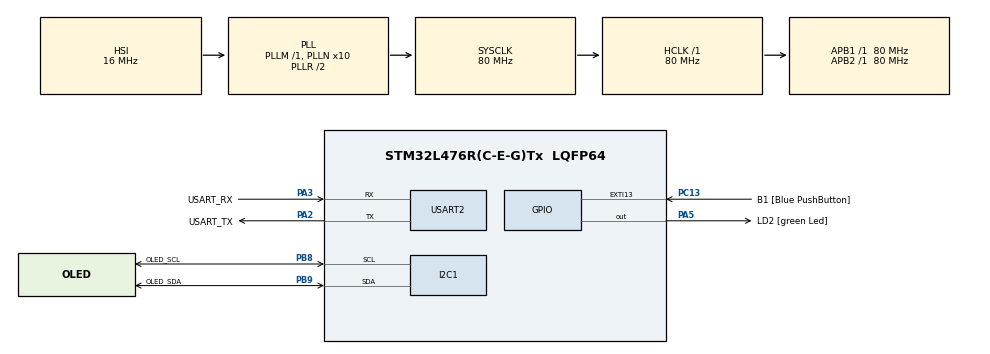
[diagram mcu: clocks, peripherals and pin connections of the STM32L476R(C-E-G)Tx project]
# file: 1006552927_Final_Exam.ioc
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I2C1.Timing=0x10909CEC
Mcu.Family=STM32L4
Mcu.Name=STM32L476R(C-E-G)Tx
Mcu.Package=LQFP64
NVIC.PriorityGroup=NVIC_PRIORITYGROUP_4
PA13\ (JTMS-SWDIO).GPIO_Label=TMS
PA13\ (JTMS-SWDIO).Mode=Serial_Wire
PA13\ (JTMS-SWDIO).Signal=SYS_JTMS-SWDIO
PA14\ (JTCK-SWCLK).GPIO_Label=TCK
PA14\ (JTCK-SWCLK).Mode=Serial_Wire
PA14\ (JTCK-SWCLK).Signal=SYS_JTCK-SWCLK
PA2.GPIO_Label=USART_TX
PA2.GPIO_Mode=GPIO_MODE_AF_PP
PA2.GPIO_PuPd=GPIO_NOPULL
PA2.GPIO_Speed=GPIO_SPEED_FREQ_VERY_HIGH
PA2.Mode=Asynchronous
PA2.Signal=USART2_TX
PA3.GPIO_Label=USART_RX
PA3.GPIO_Mode=GPIO_MODE_AF_PP
PA3.GPIO_PuPd=GPIO_NOPULL
PA3.GPIO_Speed=GPIO_SPEED_FREQ_VERY_HIGH
PA3.Mode=Asynchronous
PA3.Signal=USART2_RX
PA5.GPIO_Label=LD2 [green Led]
PA5.GPIO_ModeDefaultOutputPP=GPIO_MODE_OUTPUT_PP
PA5.GPIO_PuPd=GPIO_NOPULL
PA5.GPIO_Speed=GPIO_SPEED_FREQ_LOW
PA5.Signal=GPIO_Output
PB3\ (JTDO-TRACESWO).GPIO_Label=SWO
PB3\ (JTDO-TRACESWO).Signal=SYS_JTDO-SWO
PB8.GPIO_Label=OLED_SCL
PB8.Mode=I2C
PB8.Signal=I2C1_SCL
PB9.GPIO_Label=OLED_SDA
PB9.Mode=I2C
PB9.Signal=I2C1_SDA
PC13.GPIO_Label=B1 [Blue PushButton]
PC13.GPIO_ModeDefaultEXTI=GPIO_MODE_IT_FALLING
PC13.GPIO_PuPd=GPIO_NOPULL
PC13.Signal=GPXTI13
PC14-OSC32_IN\ (PC14).Mode=LSE-External-Oscillator
PC14-OSC32_IN\ (PC14).Signal=RCC_OSC32_IN
PC15-OSC32_OUT\ (PC15).Mode=LSE-External-Oscillator
PC15-OSC32_OUT\ (PC15).Signal=RCC_OSC32_OUT
PH0-OSC_IN\ (PH0).Signal=RCC_OSC_IN
PH1-OSC_OUT\ (PH1).Signal=RCC_OSC_OUT
ProjectManager.HeapSize=0x200
ProjectManager.StackSize=0x400
ProjectManager.TargetToolchain=STM32CubeIDE
RCC.ADCFreq_Value=64000000
RCC.AHBFreq_Value=80000000
RCC.APB1Freq_Value=80000000
RCC.APB1TimFreq_Value=80000000
RCC.APB2Freq_Value=80000000
RCC.APB2TimFreq_Value=80000000
RCC.CortexFreq_Value=80000000
RCC.HCLKFreq_Value=80000000
RCC.HSE_VALUE=8000000
RCC.HSI_VALUE=16000000
RCC.MSI_VALUE=4000000
RCC.PLLN=10
RCC.PLLSourceVirtual=RCC_PLLSOURCE_HSI
RCC.PREFETCH_ENABLE=1
RCC.SYSCLKFreq_VALUE=80000000
RCC.SYSCLKSource=RCC_SYSCLKSOURCE_PLLCLK
RCC.USBFreq_Value=64000000
RCC.VCOOutputFreq_Value=160000000
USART2.VirtualMode-Asynchronous=VM_ASYNC
board=NUCLEO-L476RG

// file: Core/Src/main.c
/* USER CODE BEGIN Header */
/**
  ******************************************************************************
  * @file           : main.c
  * @brief          : Main program body
  ******************************************************************************
  * @attention
  *
  * Copyright (c) 2023 STMicroelectronics.
  * All rights reserved.
  *
  * This software is licensed under terms that can be found in the LICENSE file
  * in the root directory of this software component.
  * If no LICENSE file comes with this software, it is provided AS-IS.
  *
  ******************************************************************************
  */
/* USER CODE END Header */
#include "main.h"

/* USER CODE BEGIN Includes */
#include "ssd1306.h"
#include "ssd1306_fonts.h"
#include "ring_buffer.h"
#include <stdio.h>
#include <string.h>

/* USER CODE END Includes */

I2C_HandleTypeDef hi2c1;

UART_HandleTypeDef huart2;

/* USER CODE BEGIN PV */
uint8_t multiple_fails = 0;
uint8_t rx_buffer[10];
ring_buffer_t ring_buffer_uart_rx;
uint8_t rx_data;

/* USER CODE END PV */

void SystemClock_Config(void);
static void MX_GPIO_Init(void);
static void MX_USART2_UART_Init(void);
static void MX_I2C1_Init(void);

/* USER CODE BEGIN 0 */
int _write(int file, char *ptr, int len)
{
  HAL_UART_Transmit(&huart2, (uint8_t *)ptr, len, HAL_MAX_DELAY);
  return len;
}
/**
  * @brief  Rx Transfer completed callback.
  * @param  huart UART handle.
  * @retval None
  */
void HAL_UART_RxCpltCallback(UART_HandleTypeDef *huart)
{
	ring_buffer_put(&ring_buffer_uart_rx, rx_data);

	HAL_UART_Receive_IT(&huart2, &rx_data, 1);
}

/**
  * @brief  Validate sequence received from uart.
  * @param  None
  * @retval None
  */
void validate_sequence(void)
{

	printf("Validating\r\n");
	uint8_t std_code[10] = "1006552927";
	uint8_t sequence[10];

	for (uint8_t idx = 0; idx < 10; idx++) {

	  ring_buffer_get(&ring_buffer_uart_rx, &sequence[idx]);
	}

	if (memcmp(std_code, sequence, 10) == 0) {

	  ssd1306_Fill(Black);
	  ssd1306_SetCursor(20, 20);
	  ssd1306_WriteString("Success", Font_11x18, White);
	  ssd1306_UpdateScreen();
	  multiple_fails = 0;
	  HAL_Delay(10000);
	} else {
	  multiple_fails += 1;

	  if (multiple_fails == 3){

		  ssd1306_Fill(Black);
		  ssd1306_SetCursor(20, 20);
		  ssd1306_WriteString("Blocked", Font_11x18, White);
		  ssd1306_UpdateScreen();

		  HAL_Delay(30000);

		  multiple_fails = 0;

	  }
	  else{

		  ssd1306_Fill(Black);
		  ssd1306_SetCursor(20, 20);
		  ssd1306_WriteString("Failed", Font_11x18, White);
		  ssd1306_UpdateScreen();
		  HAL_Delay(10000);
	  }
	}
}

/* USER CODE END 0 */

int main(void)
{

  /* MCU Configuration--------------------------------------------------------*/

  /* Reset of all peripherals, Initializes the Flash interface and the Systick. */
  HAL_Init();

  /* Configure the system clock */
  SystemClock_Config();

  /* Initialize all configured peripherals */
  MX_GPIO_Init();
  MX_USART2_UART_Init();
  MX_I2C1_Init();
  /* USER CODE BEGIN 2 */

  ssd1306_Init();
  ssd1306_Fill(Black);
  ssd1306_SetCursor(20, 20);
  ssd1306_WriteString("Waiting", Font_11x18, White);
  ssd1306_UpdateScreen();

  /* USER CODE END 2 */

  /* Infinite loop */
  while (1)
  {

  }
}

void SystemClock_Config(void)
{
  RCC_OscInitTypeDef RCC_OscInitStruct = {0};
  RCC_ClkInitTypeDef RCC_ClkInitStruct = {0};

  /** Configure the main internal regulator output voltage
  */
  if (HAL_PWREx_ControlVoltageScaling(PWR_REGULATOR_VOLTAGE_SCALE1) != HAL_OK)
  {
    Error_Handler();
  }

  /** Initializes the RCC Oscillators according to the specified parameters
  * in the RCC_OscInitTypeDef structure.
  */
  RCC_OscInitStruct.OscillatorType = RCC_OSCILLATORTYPE_HSI;
  RCC_OscInitStruct.HSIState = RCC_HSI_ON;
  RCC_OscInitStruct.HSICalibrationValue = RCC_HSICALIBRATION_DEFAULT;
  RCC_OscInitStruct.PLL.PLLState = RCC_PLL_ON;
  RCC_OscInitStruct.PLL.PLLSource = RCC_PLLSOURCE_HSI;
  RCC_OscInitStruct.PLL.PLLM = 1;
  RCC_OscInitStruct.PLL.PLLN = 10;
  RCC_OscInitStruct.PLL.PLLP = RCC_PLLP_DIV7;
  RCC_OscInitStruct.PLL.PLLQ = RCC_PLLQ_DIV2;
  RCC_OscInitStruct.PLL.PLLR = RCC_PLLR_DIV2;
  if (HAL_RCC_OscConfig(&RCC_OscInitStruct) != HAL_OK)
  {
    Error_Handler();
  }

  /** Initializes the CPU, AHB and APB buses clocks
  */
  RCC_ClkInitStruct.ClockType = RCC_CLOCKTYPE_HCLK|RCC_CLOCKTYPE_SYSCLK
                              |RCC_CLOCKTYPE_PCLK1|RCC_CLOCKTYPE_PCLK2;
  RCC_ClkInitStruct.SYSCLKSource = RCC_SYSCLKSOURCE_PLLCLK;
  RCC_ClkInitStruct.AHBCLKDivider = RCC_SYSCLK_DIV1;
  RCC_ClkInitStruct.APB1CLKDivider = RCC_HCLK_DIV1;
  RCC_ClkInitStruct.APB2CLKDivider = RCC_HCLK_DIV1;

  if (HAL_RCC_ClockConfig(&RCC_ClkInitStruct, FLASH_LATENCY_4) != HAL_OK)
  {
    Error_Handler();
  }
}

static void MX_I2C1_Init(void)
{

  hi2c1.Instance = I2C1;
  hi2c1.Init.Timing = 0x10909CEC;
  hi2c1.Init.OwnAddress1 = 0;
  hi2c1.Init.AddressingMode = I2C_ADDRESSINGMODE_7BIT;
  hi2c1.Init.DualAddressMode = I2C_DUALADDRESS_DISABLE;
  hi2c1.Init.OwnAddress2 = 0;
  hi2c1.Init.OwnAddress2Masks = I2C_OA2_NOMASK;
  hi2c1.Init.GeneralCallMode = I2C_GENERALCALL_DISABLE;
  hi2c1.Init.NoStretchMode = I2C_NOSTRETCH_DISABLE;
  if (HAL_I2C_Init(&hi2c1) != HAL_OK)
  {
    Error_Handler();
  }

  /** Configure Analogue filter
  */
  if (HAL_I2CEx_ConfigAnalogFilter(&hi2c1, I2C_ANALOGFILTER_ENABLE) != HAL_OK)
  {
    Error_Handler();
  }

  /** Configure Digital filter
  */
  if (HAL_I2CEx_ConfigDigitalFilter(&hi2c1, 0) != HAL_OK)
  {
    Error_Handler();
  }

}

static void MX_USART2_UART_Init(void)
{

  huart2.Instance = USART2;
  huart2.Init.BaudRate = 115200;
  huart2.Init.WordLength = UART_WORDLENGTH_8B;
  huart2.Init.StopBits = UART_STOPBITS_1;
  huart2.Init.Parity = UART_PARITY_NONE;
  huart2.Init.Mode = UART_MODE_TX_RX;
  huart2.Init.HwFlowCtl = UART_HWCONTROL_NONE;
  huart2.Init.OverSampling = UART_OVERSAMPLING_16;
  huart2.Init.OneBitSampling = UART_ONE_BIT_SAMPLE_DISABLE;
  huart2.AdvancedInit.AdvFeatureInit = UART_ADVFEATURE_NO_INIT;
  if (HAL_UART_Init(&huart2) != HAL_OK)
  {
    Error_Handler();
  }

}

static void MX_GPIO_Init(void)
{
  GPIO_InitTypeDef GPIO_InitStruct = {0};

  /* GPIO Ports Clock Enable */
  __HAL_RCC_GPIOC_CLK_ENABLE();
  __HAL_RCC_GPIOH_CLK_ENABLE();
  __HAL_RCC_GPIOA_CLK_ENABLE();
  __HAL_RCC_GPIOB_CLK_ENABLE();

  /*Configure GPIO pin Output Level */
  HAL_GPIO_WritePin(LD2_GPIO_Port, LD2_Pin, GPIO_PIN_RESET);

  /*Configure GPIO pin : B1_Pin */
  GPIO_InitStruct.Pin = B1_Pin;
  GPIO_InitStruct.Mode = GPIO_MODE_IT_FALLING;
  GPIO_InitStruct.Pull = GPIO_NOPULL;
  HAL_GPIO_Init(B1_GPIO_Port, &GPIO_InitStruct);

  /*Configure GPIO pin : LD2_Pin */
  GPIO_InitStruct.Pin = LD2_Pin;
  GPIO_InitStruct.Mode = GPIO_MODE_OUTPUT_PP;
  GPIO_InitStruct.Pull = GPIO_NOPULL;
  GPIO_InitStruct.Speed = GPIO_SPEED_FREQ_LOW;
  HAL_GPIO_Init(LD2_GPIO_Port, &GPIO_InitStruct);

}

void Error_Handler(void)
{
  __disable_irq();
  while (1)
  {
  }
}
